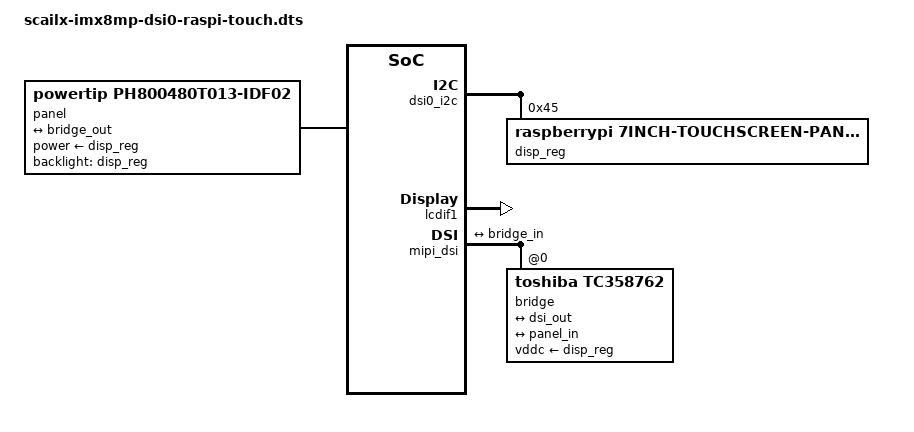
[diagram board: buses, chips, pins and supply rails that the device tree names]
// SPDX-License-Identifier: (GPL-2.0 OR MIT)
/*
 * Copyright (C) 2024 VideologyInc
 *
 */

/dts-v1/;
/plugin/;

#include <dt-bindings/gpio/gpio.h>

&{/chosen} {
    overlays {
        dsi0-raspi = __TIMESTAMP__;
    };
};

&{/} {
    panel {
        compatible = "powertip,ph800480t013-idf02";
        power-supply = <&disp_reg>;
        backlight = <&disp_reg>;

        port {
            panel_in: endpoint {
                remote-endpoint = <&bridge_out>;
            };
        };
    };
};

&dsi0_i2c {
    #address-cells = <1>;
    #size-cells = <0>;
    // disp_touch: ft5426@38 {
    //     compatible = "edt,edt-ft5406";
    //     reg = <0x38>;
    //     poll-interval = <10>;
    //     reset-gpios = <&panel_gpio 3 GPIO_ACTIVE_LOW>;
    //     touchscreen-size-x = <1024>;
    //     touchscreen-size-y = <600>;
    //     touchscreen-inverted-x;
    //     touchscreen-inverted-y;
    // };
    disp_reg: regulator@45 {
        compatible = "raspberrypi,7inch-touchscreen-panel-regulator";
        reg = <0x45>;
    };
};

&lcdif1 {
    status = "okay";
};

&mipi_dsi {
    samsung,burst-clock-frequency = <891000000>;
    samsung,esc-clock-frequency = <54000000>;
    samsung,pll-clock-frequency = <27000000>;
    #address-cells = <1>;
    #size-cells = <0>;
    status = "okay";

    bridge@0 {
        compatible = "toshiba,tc358762";
        reg = <0>;
        vddc-supply = <&disp_reg>;

        ports {
            #address-cells = <1>;
            #size-cells = <0>;

            port@0 {
                reg = <0>;

                bridge_in: endpoint {
                    remote-endpoint = <&dsi_out>;
                };
            };

            port@1 {
                reg = <1>;

                bridge_out: endpoint {
                    remote-endpoint = <&panel_in>;
                };
            };
        };
    };

    ports {
        #address-cells = <1>;
        #size-cells = <0>;

        port@1 {
            reg = <1>;

            dsi_out: endpoint {
                data-lanes = <1 2>;
                remote-endpoint = <&bridge_in>;
            };
        };
    };
};




